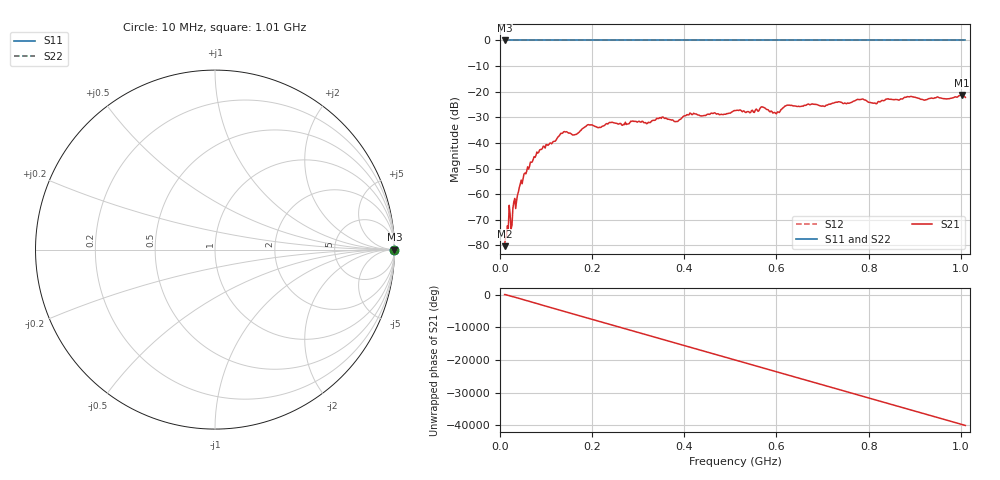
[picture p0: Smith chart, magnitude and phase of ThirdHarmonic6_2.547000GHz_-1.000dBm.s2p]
! 8/17/2025 5:11:02 AM
! C:\ANRITSUVNA\TEMP\TEMP.S2P
! CHANNEL.1
! TR.MEASUREMENT
! RAW.DATA
! RF.CORRECTION.OFF
! AVERAGING.OFF
! IF.BANDWIDTH: 5KHZ
! SWEEPTYPE:  FREQ.SWEEP(Linear)
! Reference Plane Port Info
! PORT:  PORT1  PORT2
! DISTANCE:  0  m  0  m
! TIME:  0  s  0  s
! PHASE.OFFSET:  0  deg.  0  deg.
! LOSS:  0  dB  0  dB
! REF.LOSS:  0  dB  0  dB
! REF.FREQ:  0  Hz  0  Hz
! Power Info
! POWER:  -20  dBm  -20  dBm
! EFF.POWER:  -20  dBm  -20  dBm
! SOURCE.ATTEN:  0  dB  0  dB
! TEST.ATTEN:  0  dB  0  dB
# GHZ S RI R 50.0
! FREQ.GHZ  S11RE  S11IM  S21RE  S21IM  S12RE  S12IM  S22RE  S22IM
!; PortSelection: Port_12
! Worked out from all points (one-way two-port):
!   501 points, 10 MHz to 1.01 GHz, reference 50 ohm
!   highest |S21| = -21.32 dB at 1.002 GHz (marker M1); lowest = -80.3 dB at 10 MHz (marker M2)
!   lowest |S11| = 0.0 dB at 10 MHz (marker M3)
!   |S11| at or under -10 dB: nowhere
!   |S22| runs from 0.0 to 0.0 dB; largest |S21 - S12| = 1.1
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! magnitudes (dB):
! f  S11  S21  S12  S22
! 10 MHz  0.0  -80.3  0.0  0.0
! 18 MHz  0.0  -73.3  0.0  0.0
! 26 MHz  0.0  -72.0  0.0  0.0
! 42 MHz  0.0  -57.3  0.0  0.0
! 76 MHz  0.0  -45.6  0.0  0.0
! 136 MHz  0.0  -36.2  0.0  0.0
! 162 MHz  0.0  -36.8  0.0  0.0
! 178 MHz  0.0  -34.5  0.0  0.0
! 194 MHz  0.0  -33.0  0.0  0.0
! 344 MHz  0.0  -30.5  0.0  0.0
! 382 MHz  0.0  -31.6  0.0  0.0
! 410 MHz  0.0  -29.0  0.0  0.0
! 510 MHz  0.0  -27.4  0.0  0.0
! 570 MHz  0.0  -26.0  0.0  0.0
! 596 MHz  0.0  -28.1  0.0  0.0
! 622 MHz  0.0  -25.3  0.0  0.0
! 678 MHz  0.0  -24.8  0.0  0.0
! 784 MHz  0.0  -23.0  0.0  0.0
! 814 MHz  0.0  -24.5  0.0  0.0
! 844 MHz  0.0  -22.9  0.0  0.0
! 1.002 GHz  0.0  -21.3  0.0  0.0
! 1.01 GHz  0.0  -22.2  0.0  0.0
